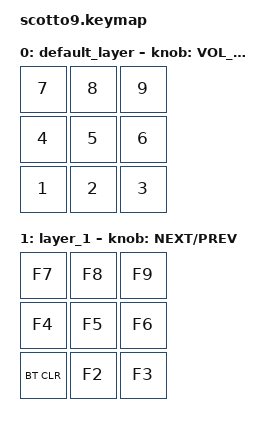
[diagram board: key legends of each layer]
// Arquivo: config/scotto9.keymap

// Importa as definições padrão de teclas e comportamentos
#include <behaviors.dtsi>
#include <dt-bindings/zmk/keys.h>
#include <dt-bindings/zmk/bt.h> // Importa comandos Bluetooth

// --- Configuração do Encoder ---
// Você não precisa mexer aqui, o "shield" scotto9 geralmente cuida disso,
// mas é bom ter para garantir.
/ {
    sensors {
        compatible = "zmk,keypad-sensors";
        sensors = <&encoder_1>;
    };
};

encoder_1: encoder_1 {
    compatible = "alps,ec11";
    label = "ENCODER_1";
    // Pinos padrão do Pro Micro/Nice!Nano. O shield scotto9 já mapeia isso.
    a-gpios = <&pro_micro 6 (GPIO_ACTIVE_LOW | GPIO_PULL_UP)>; 
    b-gpios = <&pro_micro 8 (GPIO_ACTIVE_LOW | GPIO_PULL_UP)>;
    steps = <2>;
};
// --- Fim da Configuração do Encoder ---


// --- KEYMAP: ONDE A MÁGICA ACONTECE ---
/ {
    keymap {
        compatible = "zmk,keymap";

        // --- Camada 0: Padrão (Numpad) ---
        default_layer {
            // A ordem das teclas é como você lê um livro:
            // Linha 1 (teclas 1, 2, 3)
            // Linha 2 (teclas 4, 5, 6)
            // Linha 3 (teclas 7, 8, 9)
            bindings = <
                &kp N7    &kp N8    &kp N9      // Tecla 1=Num7, Tecla 2=Num8, Tecla 3=Num9
                &kp N4    &kp N5    &kp N6      // Tecla 4=Num4, Tecla 5=Num5, Tecla 6=Num6
                &kp N1    &kp N2    &kp N3      // Tecla 7=Num1, Tecla 8=Num2, Tecla 9=Num3
            >;

            // O que o encoder faz nesta camada
            sensor-bindings = <
                // Girar: Aumenta/Diminui Volume
                &inc_dec_kp C_VOL_UP C_VOL_DN  
            >;
        };

        // --- Camada 1: Funções (Exemplo) ---
        // Você pode adicionar quantas camadas quiser
        layer_1 {
            bindings = <
                &kp F7    &kp F8    &kp F9      // Teclas F7, F8, F9
                &kp F4    &kp F5    &kp F6      // Teclas F4, F5, F6
                &bt BT_CLR  &kp F2    &kp F3      // Limpar pareamento BT, F2, F3
            >;

            sensor-bindings = <
                // Girar: Próxima/Anterior música
                &inc_dec_kp C_NEXT C_PREV
            >;
        };
    }; // Fim do keymap

    // --- Comportamentos: Como as teclas funcionam ---
    behaviors {
        // Define o clique do encoder como um botão normal
        encoder_press: encoder_press {
            compatible = "zmk,behavior-sensor-rotate";
            label = "ENCODER_PRESS";
            sensors = <&encoder_1>;
            // O que ele faz: Mute
            bindings = <&kp C_MUTE>;
        };

        // Cria um "Momentary Layer" (MO)
        // "Segure para ativar a Camada 1"
        LH: layer_hold {
            compatible = "zmk,behavior-hold-tap";
            label = "LAYER_HOLD_1";
            #binding-cells = <2>;
            tapping-term-ms = <200>; // 200ms para diferenciar toque de segurar
            bindings = <&mo>, <&kp>; // <Segurar>, <Tocar>

            // Exemplo de uso: &LH 1 F1
            // Se segurar: Ativa camada 1
            // Se tocar rápido: Envia F1
        };
    };
};
